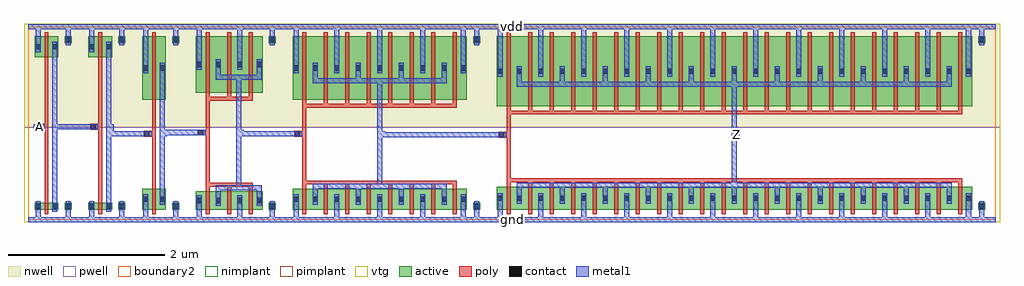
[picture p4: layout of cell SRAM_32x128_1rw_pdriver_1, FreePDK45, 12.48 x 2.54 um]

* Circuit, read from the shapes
.subckt SRAM_32x128_1rw_pdriver_1 A Z gnd vdd
M1 SRAM_32x128_1rw_pinv_1_1/A A gnd gnd nfet w=0.09u l=0.05u
M2 SRAM_32x128_1rw_pinv_8_2/A SRAM_32x128_1rw_pinv_1_1/A gnd gnd nfet w=0.09u l=0.05u
M3 SRAM_32x128_1rw_pinv_9_3/A SRAM_32x128_1rw_pinv_8_2/A gnd gnd nfet w=0.27u l=0.05u
M4 SRAM_32x128_1rw_pinv_10_4/A SRAM_32x128_1rw_pinv_9_3/A gnd gnd nfet w=0.24u l=0.05u m=3
M5 SRAM_32x128_1rw_pinv_11_5/A SRAM_32x128_1rw_pinv_10_4/A gnd gnd nfet w=0.27u l=0.05u m=8
M6 Z SRAM_32x128_1rw_pinv_11_5/A gnd gnd nfet w=0.2975u l=0.05u m=22
M7 SRAM_32x128_1rw_pinv_1_1/A A vdd vdd pfet w=0.27u l=0.05u
M8 SRAM_32x128_1rw_pinv_8_2/A SRAM_32x128_1rw_pinv_1_1/A vdd vdd pfet w=0.27u l=0.05u
M9 SRAM_32x128_1rw_pinv_9_3/A SRAM_32x128_1rw_pinv_8_2/A vdd vdd pfet w=0.81u l=0.05u
M10 SRAM_32x128_1rw_pinv_10_4/A SRAM_32x128_1rw_pinv_9_3/A vdd vdd pfet w=0.72u l=0.05u m=3
M11 SRAM_32x128_1rw_pinv_11_5/A SRAM_32x128_1rw_pinv_10_4/A vdd vdd pfet w=0.81u l=0.05u m=8
M12 Z SRAM_32x128_1rw_pinv_11_5/A vdd vdd pfet w=0.895u l=0.05u m=22
.ends

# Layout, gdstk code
import gdstk
lib = gdstk.Library(unit=1e-6, precision=5e-10)
def R(c, l, rs):  # rectangles x0, y0, x1, y1
    for r in rs: c.add(gdstk.rectangle(r[:2], r[2:], *l))
def A(c, l, x, y, w, h, nx, ny, dx, dy):  # array of equal rectangles
    R(c, l, [(x+i*dx, y+j*dy, x+i*dx+w, y+j*dy+h) for i in range(nx) for j in range(ny)])
active = (1, 0)
pwell = (2, 0)
nwell = (3, 0)
nimplant = (4, 0)
pimplant = (5, 0)
vtg = (6, 0)
poly = (9, 0)
contact = (10, 0)
metal1 = (11, 0)
boundary2 = (239, 0)

sram_32x128_1rw_contact_ = lib.new_cell('SRAM_32x128_1rw_contact_11')
R(sram_32x128_1rw_contact_, active, [(0,0.0225,0.09,0.1125)])
R(sram_32x128_1rw_contact_, nwell, [(-0.055,-0.0325,0.145,0.1675)])
R(sram_32x128_1rw_contact_, pimplant, [(0,0.0225,0.09,0.1125)])
R(sram_32x128_1rw_contact_, contact, [(0.0125,0.035,0.0775,0.1)])
R(sram_32x128_1rw_contact_, metal1, [(0.0125,0,0.0775,0.135)])
R(sram_32x128_1rw_contact_, boundary2, [(-0.055,-0.0325,0.145,0.1675)])

sram_32x128_1rw_pmos_m1_ = lib.new_cell('SRAM_32x128_1rw_pmos_m1_w0_270_sm1_dm1_da_p')
R(sram_32x128_1rw_pmos_m1_, active, [(0,0,0.305,0.27)])
R(sram_32x128_1rw_pmos_m1_, nwell, [(-0.08,-0.08,0.385,0.35)])
R(sram_32x128_1rw_pmos_m1_, pimplant, [(0,0,0.305,0.27)])
R(sram_32x128_1rw_pmos_m1_, vtg, [(-0.08,-0.08,0.385,0.35)])
R(sram_32x128_1rw_pmos_m1_, poly, [(0.1275,-0.055,0.1775,0.325), (0.1275,-0.055,0.1775,0.325)])
R(sram_32x128_1rw_pmos_m1_, metal1, [(0.0125,0.0675,0.0775,0.2025), (0.2275,0.0675,0.2925,0.2025)])
R(sram_32x128_1rw_pmos_m1_, boundary2, [(-0.08,-0.08,0.385,0.35)])
sram_32x128_1rw_pmos_m1_.add(gdstk.Reference(sram_32x128_1rw_contact_, (0,0.0675)))
sram_32x128_1rw_pmos_m1_.add(gdstk.Reference(sram_32x128_1rw_contact_, (0.215,0.0675)))
sram_32x128_1rw_pmos_m1_.add(gdstk.Label('G', (0.1525,0.135), layer=9, texttype=0))
sram_32x128_1rw_pmos_m1_.add(gdstk.Label('S', (0.045,0.135), layer=11, texttype=0))
sram_32x128_1rw_pmos_m1_.add(gdstk.Label('D', (0.26,0.135), layer=11, texttype=0))

c_sram_32x128_1rw_contact_ = lib.new_cell('SRAM_32x128_1rw_contact_10')
R(c_sram_32x128_1rw_contact_, active, [(0,0.0225,0.09,0.1125)])
R(c_sram_32x128_1rw_contact_, pwell, [(-0.055,-0.0325,0.145,0.1675)])
R(c_sram_32x128_1rw_contact_, nimplant, [(0,0.0225,0.09,0.1125)])
R(c_sram_32x128_1rw_contact_, contact, [(0.0125,0.035,0.0775,0.1)])
R(c_sram_32x128_1rw_contact_, metal1, [(0.0125,0,0.0775,0.135)])
R(c_sram_32x128_1rw_contact_, boundary2, [(-0.055,-0.0325,0.145,0.1675)])

sram_32x128_1rw_nmos_m1_ = lib.new_cell('SRAM_32x128_1rw_nmos_m1_w0_090_sm1_dm1_da_p')
R(sram_32x128_1rw_nmos_m1_, active, [(0,0,0.305,0.09)])
R(sram_32x128_1rw_nmos_m1_, pwell, [(-0.08,-0.08,0.385,0.17)])
R(sram_32x128_1rw_nmos_m1_, nimplant, [(0,0,0.305,0.09)])
R(sram_32x128_1rw_nmos_m1_, vtg, [(-0.08,-0.08,0.385,0.17)])
R(sram_32x128_1rw_nmos_m1_, poly, [(0.1275,-0.055,0.1775,0.145), (0.1275,-0.055,0.1775,0.145)])
R(sram_32x128_1rw_nmos_m1_, metal1, [(0.0125,-0.0225,0.0775,0.1125), (0.2275,-0.0225,0.2925,0.1125)])
R(sram_32x128_1rw_nmos_m1_, boundary2, [(-0.08,-0.08,0.385,0.17)])
sram_32x128_1rw_nmos_m1_.add(gdstk.Reference(c_sram_32x128_1rw_contact_, (0,-0.0225)))
sram_32x128_1rw_nmos_m1_.add(gdstk.Reference(c_sram_32x128_1rw_contact_, (0.215,-0.0225)))
sram_32x128_1rw_nmos_m1_.add(gdstk.Label('G', (0.1525,0.045), layer=9, texttype=0))
sram_32x128_1rw_nmos_m1_.add(gdstk.Label('S', (0.045,0.045), layer=11, texttype=0))
sram_32x128_1rw_nmos_m1_.add(gdstk.Label('D', (0.26,0.045), layer=11, texttype=0))

c_sram_32x128_1rw_contact__ = lib.new_cell('SRAM_32x128_1rw_contact_12')
R(c_sram_32x128_1rw_contact__, active, [(0,0.0225,0.09,0.1125)])
R(c_sram_32x128_1rw_contact__, nwell, [(-0.055,-0.0325,0.145,0.1675)])
R(c_sram_32x128_1rw_contact__, nimplant, [(0,0.0225,0.09,0.1125)])
R(c_sram_32x128_1rw_contact__, contact, [(0.0125,0.035,0.0775,0.1)])
R(c_sram_32x128_1rw_contact__, metal1, [(0.0125,0,0.0775,0.135)])
R(c_sram_32x128_1rw_contact__, boundary2, [(-0.055,-0.0325,0.145,0.1675)])

c_sram_32x128_1rw_contact___ = lib.new_cell('SRAM_32x128_1rw_contact_13')
R(c_sram_32x128_1rw_contact___, active, [(0,0.0225,0.09,0.1125)])
R(c_sram_32x128_1rw_contact___, pwell, [(-0.055,-0.0325,0.145,0.1675)])
R(c_sram_32x128_1rw_contact___, pimplant, [(0,0.0225,0.09,0.1125)])
R(c_sram_32x128_1rw_contact___, contact, [(0.0125,0.035,0.0775,0.1)])
R(c_sram_32x128_1rw_contact___, metal1, [(0.0125,0,0.0775,0.135)])
R(c_sram_32x128_1rw_contact___, boundary2, [(-0.055,-0.0325,0.145,0.1675)])

c_sram_32x128_1rw_contact____ = lib.new_cell('SRAM_32x128_1rw_contact_14')
R(c_sram_32x128_1rw_contact____, poly, [(0.03,0,0.105,0.075)])
R(c_sram_32x128_1rw_contact____, contact, [(0.035,0.005,0.1,0.07)])
R(c_sram_32x128_1rw_contact____, metal1, [(0,0.005,0.135,0.07)])
R(c_sram_32x128_1rw_contact____, boundary2, [(0,0,0.135,0.075)])

sram_32x128_1rw_pinv_1 = lib.new_cell('SRAM_32x128_1rw_pinv_1')
R(sram_32x128_1rw_pinv_1, pwell, [(-0.055,-0.0325,0.7425,1.185)])
R(sram_32x128_1rw_pinv_1, nwell, [(-0.055,1.185,0.7425,2.505)])
R(sram_32x128_1rw_pinv_1, vtg, [(-0.055,-0.0325,0.7425,1.185), (-0.055,1.185,0.7425,2.505)])
R(sram_32x128_1rw_pinv_1, poly, [(0.2075,0.27,0.2575,2.02), (0.14,1.1525,0.2075,1.2275)])
R(sram_32x128_1rw_pinv_1, metal1, [(0,-0.0325,0.6875,0.0325), (0.0925,-0.0325,0.1575,0.1025), (0.4775,0,0.5425,0.17), (0.3075,0.1025,0.3725,2.2775), (0.0725,1.1575,0.2075,1.2225), (0.34,1.1575,0.405,1.2225), (0.0925,2.1425,0.1575,2.5025), (0.4775,2.3,0.5425,2.47), (0,2.4375,0.6875,2.5025)])
R(sram_32x128_1rw_pinv_1, boundary2, [(0,0,0.6875,2.47), (0,0,0.6875,2.47)])
sram_32x128_1rw_pinv_1.add(gdstk.Reference(sram_32x128_1rw_pmos_m1_, (0.08,2.075)))
sram_32x128_1rw_pinv_1.add(gdstk.Reference(sram_32x128_1rw_nmos_m1_, (0.08,0.125)))
sram_32x128_1rw_pinv_1.add(gdstk.Reference(c_sram_32x128_1rw_contact__, (0.465,2.2325)))
sram_32x128_1rw_pinv_1.add(gdstk.Reference(c_sram_32x128_1rw_contact___, (0.465,0.1025)))
sram_32x128_1rw_pinv_1.add(gdstk.Reference(c_sram_32x128_1rw_contact____, (0.0725,1.1525)))
sram_32x128_1rw_pinv_1.add(gdstk.Label('A', (0.14,1.19), layer=11, texttype=0))
sram_32x128_1rw_pinv_1.add(gdstk.Label('Z', (0.3725,1.19), layer=11, texttype=0))
sram_32x128_1rw_pinv_1.add(gdstk.Label('gnd', (0.344,0), layer=11, texttype=0))
sram_32x128_1rw_pinv_1.add(gdstk.Label('vdd', (0.344,2.47), layer=11, texttype=0))

c_sram_32x128_1rw_pmos_m1_ = lib.new_cell('SRAM_32x128_1rw_pmos_m1_w0_810_sm1_dm1_da_p')
R(c_sram_32x128_1rw_pmos_m1_, active, [(0,0,0.305,0.81)])
R(c_sram_32x128_1rw_pmos_m1_, nwell, [(-0.08,-0.08,0.385,0.89)])
R(c_sram_32x128_1rw_pmos_m1_, pimplant, [(0,0,0.305,0.81)])
R(c_sram_32x128_1rw_pmos_m1_, vtg, [(-0.08,-0.08,0.385,0.89)])
R(c_sram_32x128_1rw_pmos_m1_, poly, [(0.1275,-0.055,0.1775,0.865), (0.1275,-0.055,0.1775,0.865)])
R(c_sram_32x128_1rw_pmos_m1_, metal1, [(0.0125,0.3375,0.0775,0.4725), (0.2275,0.3375,0.2925,0.4725)])
R(c_sram_32x128_1rw_pmos_m1_, boundary2, [(-0.08,-0.08,0.385,0.89)])
c_sram_32x128_1rw_pmos_m1_.add(gdstk.Reference(sram_32x128_1rw_contact_, (0,0.3375)))
c_sram_32x128_1rw_pmos_m1_.add(gdstk.Reference(sram_32x128_1rw_contact_, (0.215,0.3375)))
c_sram_32x128_1rw_pmos_m1_.add(gdstk.Label('G', (0.1525,0.405), layer=9, texttype=0))
c_sram_32x128_1rw_pmos_m1_.add(gdstk.Label('S', (0.045,0.405), layer=11, texttype=0))
c_sram_32x128_1rw_pmos_m1_.add(gdstk.Label('D', (0.26,0.405), layer=11, texttype=0))

c_sram_32x128_1rw_nmos_m1_ = lib.new_cell('SRAM_32x128_1rw_nmos_m1_w0_270_sm1_dm1_da_p')
R(c_sram_32x128_1rw_nmos_m1_, active, [(0,0,0.305,0.27)])
R(c_sram_32x128_1rw_nmos_m1_, pwell, [(-0.08,-0.08,0.385,0.35)])
R(c_sram_32x128_1rw_nmos_m1_, nimplant, [(0,0,0.305,0.27)])
R(c_sram_32x128_1rw_nmos_m1_, vtg, [(-0.08,-0.08,0.385,0.35)])
R(c_sram_32x128_1rw_nmos_m1_, poly, [(0.1275,-0.055,0.1775,0.325), (0.1275,-0.055,0.1775,0.325)])
R(c_sram_32x128_1rw_nmos_m1_, metal1, [(0.0125,0.0675,0.0775,0.2025), (0.2275,0.0675,0.2925,0.2025)])
R(c_sram_32x128_1rw_nmos_m1_, boundary2, [(-0.08,-0.08,0.385,0.35)])
c_sram_32x128_1rw_nmos_m1_.add(gdstk.Reference(c_sram_32x128_1rw_contact_, (0,0.0675)))
c_sram_32x128_1rw_nmos_m1_.add(gdstk.Reference(c_sram_32x128_1rw_contact_, (0.215,0.0675)))
c_sram_32x128_1rw_nmos_m1_.add(gdstk.Label('G', (0.1525,0.135), layer=9, texttype=0))
c_sram_32x128_1rw_nmos_m1_.add(gdstk.Label('S', (0.045,0.135), layer=11, texttype=0))
c_sram_32x128_1rw_nmos_m1_.add(gdstk.Label('D', (0.26,0.135), layer=11, texttype=0))

sram_32x128_1rw_pinv_8 = lib.new_cell('SRAM_32x128_1rw_pinv_8')
R(sram_32x128_1rw_pinv_8, pwell, [(-0.055,-0.0325,0.7425,1.185)])
R(sram_32x128_1rw_pinv_8, nwell, [(-0.055,1.185,0.7425,2.505)])
R(sram_32x128_1rw_pinv_8, vtg, [(-0.055,-0.0325,0.7425,1.185), (-0.055,1.185,0.7425,2.505)])
R(sram_32x128_1rw_pinv_8, poly, [(0.2075,0.45,0.2575,1.48), (0.14,1.0625,0.2075,1.1375)])
R(sram_32x128_1rw_pinv_8, metal1, [(0,-0.0325,0.6875,0.0325), (0.0925,-0.0325,0.1575,0.1925), (0.4775,0,0.5425,0.17), (0.3075,0.1925,0.3725,2.0075), (0.0725,1.0675,0.2075,1.1325), (0.34,1.0675,0.405,1.1325), (0.0925,1.8725,0.1575,2.5025), (0.4775,2.3,0.5425,2.47), (0,2.4375,0.6875,2.5025)])
R(sram_32x128_1rw_pinv_8, boundary2, [(0,0,0.6875,2.47), (0,0,0.6875,2.47)])
sram_32x128_1rw_pinv_8.add(gdstk.Reference(c_sram_32x128_1rw_pmos_m1_, (0.08,1.535)))
sram_32x128_1rw_pinv_8.add(gdstk.Reference(c_sram_32x128_1rw_nmos_m1_, (0.08,0.125)))
sram_32x128_1rw_pinv_8.add(gdstk.Reference(c_sram_32x128_1rw_contact__, (0.465,2.2325)))
sram_32x128_1rw_pinv_8.add(gdstk.Reference(c_sram_32x128_1rw_contact___, (0.465,0.1025)))
sram_32x128_1rw_pinv_8.add(gdstk.Reference(c_sram_32x128_1rw_contact____, (0.0725,1.0625)))
sram_32x128_1rw_pinv_8.add(gdstk.Label('A', (0.14,1.1), layer=11, texttype=0))
sram_32x128_1rw_pinv_8.add(gdstk.Label('Z', (0.3725,1.1), layer=11, texttype=0))
sram_32x128_1rw_pinv_8.add(gdstk.Label('gnd', (0.344,0), layer=11, texttype=0))
sram_32x128_1rw_pinv_8.add(gdstk.Label('vdd', (0.344,2.47), layer=11, texttype=0))

sram_32x128_1rw_pmos_m3_ = lib.new_cell('SRAM_32x128_1rw_pmos_m3_w0_720_sm1_dm1_da_p')
R(sram_32x128_1rw_pmos_m3_, active, [(0,0,0.855,0.72)])
R(sram_32x128_1rw_pmos_m3_, nwell, [(-0.08,-0.08,0.935,0.8)])
R(sram_32x128_1rw_pmos_m3_, pimplant, [(0,0,0.855,0.72)])
R(sram_32x128_1rw_pmos_m3_, vtg, [(-0.08,-0.08,0.935,0.8)])
A(sram_32x128_1rw_pmos_m3_, poly, 0.1275, -0.055, 0.05, 0.83, 3, 1, 0.275, 0)
R(sram_32x128_1rw_pmos_m3_, poly, [(0.1275,-0.105,0.7275,-0.055)])
R(sram_32x128_1rw_pmos_m3_, metal1, [(0.2575,0.1625,0.8425,0.2275), (0.2575,0.195,0.3225,0.36), (0.7775,0.195,0.8425,0.36), (0.0125,0.2925,0.0775,0.4275), (0.5325,0.2925,0.5975,0.4275)])
R(sram_32x128_1rw_pmos_m3_, boundary2, [(-0.08,-0.105,0.935,0.8)])
sram_32x128_1rw_pmos_m3_.add(gdstk.Reference(sram_32x128_1rw_contact_, (0,0.2925)))
sram_32x128_1rw_pmos_m3_.add(gdstk.Reference(sram_32x128_1rw_contact_, (0.245,0.2925)))
sram_32x128_1rw_pmos_m3_.add(gdstk.Reference(sram_32x128_1rw_contact_, (0.52,0.2925)))
sram_32x128_1rw_pmos_m3_.add(gdstk.Reference(sram_32x128_1rw_contact_, (0.765,0.2925)))
sram_32x128_1rw_pmos_m3_.add(gdstk.Label('G', (0.4275,-0.08), layer=9, texttype=0))
sram_32x128_1rw_pmos_m3_.add(gdstk.Label('S', (0.565,0.36), layer=11, texttype=0))
sram_32x128_1rw_pmos_m3_.add(gdstk.Label('S', (0.045,0.36), layer=11, texttype=0))
sram_32x128_1rw_pmos_m3_.add(gdstk.Label('D', (0.55,0.195), layer=11, texttype=0))

sram_32x128_1rw_nmos_m3_ = lib.new_cell('SRAM_32x128_1rw_nmos_m3_w0_240_sm1_dm1_da_p')
R(sram_32x128_1rw_nmos_m3_, active, [(0,0,0.855,0.24)])
R(sram_32x128_1rw_nmos_m3_, pwell, [(-0.08,-0.08,0.935,0.32)])
R(sram_32x128_1rw_nmos_m3_, nimplant, [(0,0,0.855,0.24)])
R(sram_32x128_1rw_nmos_m3_, vtg, [(-0.08,-0.08,0.935,0.32)])
A(sram_32x128_1rw_nmos_m3_, poly, 0.1275, -0.055, 0.05, 0.35, 3, 1, 0.275, 0)
R(sram_32x128_1rw_nmos_m3_, poly, [(0.1275,0.295,0.7275,0.345)])
R(sram_32x128_1rw_nmos_m3_, metal1, [(0.0125,0.0525,0.0775,0.1875), (0.5325,0.0525,0.5975,0.1875), (0.2575,0.12,0.3225,0.285), (0.7775,0.12,0.8425,0.285), (0.2575,0.2525,0.8425,0.3175)])
R(sram_32x128_1rw_nmos_m3_, boundary2, [(-0.08,-0.08,0.935,0.345)])
sram_32x128_1rw_nmos_m3_.add(gdstk.Reference(c_sram_32x128_1rw_contact_, (0,0.0525)))
sram_32x128_1rw_nmos_m3_.add(gdstk.Reference(c_sram_32x128_1rw_contact_, (0.245,0.0525)))
sram_32x128_1rw_nmos_m3_.add(gdstk.Reference(c_sram_32x128_1rw_contact_, (0.52,0.0525)))
sram_32x128_1rw_nmos_m3_.add(gdstk.Reference(c_sram_32x128_1rw_contact_, (0.765,0.0525)))
sram_32x128_1rw_nmos_m3_.add(gdstk.Label('G', (0.4275,0.32), layer=9, texttype=0))
sram_32x128_1rw_nmos_m3_.add(gdstk.Label('S', (0.565,0.12), layer=11, texttype=0))
sram_32x128_1rw_nmos_m3_.add(gdstk.Label('S', (0.045,0.12), layer=11, texttype=0))
sram_32x128_1rw_nmos_m3_.add(gdstk.Label('D', (0.55,0.285), layer=11, texttype=0))

sram_32x128_1rw_pinv_9 = lib.new_cell('SRAM_32x128_1rw_pinv_9')
R(sram_32x128_1rw_pinv_9, pwell, [(-0.055,-0.0325,1.2925,1.185)])
R(sram_32x128_1rw_pinv_9, nwell, [(-0.055,1.185,1.2925,2.505)])
R(sram_32x128_1rw_pinv_9, vtg, [(-0.055,-0.0325,1.2925,1.185), (-0.055,1.185,1.2925,2.505)])
R(sram_32x128_1rw_pinv_9, poly, [(0.2075,0.47,0.2575,1.52), (0.14,1.0775,0.2075,1.1525)])
R(sram_32x128_1rw_pinv_9, metal1, [(0,-0.0325,1.2375,0.0325), (0.0925,-0.0325,0.1575,0.1775), (0.6125,-0.0325,0.6775,0.1775), (1.0275,0,1.0925,0.17), (0.5975,0.3775,0.6625,1.8525), (0.0725,1.0825,0.2075,1.1475), (0.63,1.0825,0.695,1.1475), (0.0925,1.9175,0.1575,2.5025), (0.6125,1.9175,0.6775,2.5025), (1.0275,2.3,1.0925,2.47), (0,2.4375,1.2375,2.5025)])
R(sram_32x128_1rw_pinv_9, boundary2, [(0,0,1.2375,2.47), (0,0,1.2375,2.47)])
sram_32x128_1rw_pinv_9.add(gdstk.Reference(sram_32x128_1rw_pmos_m3_, (0.08,1.625)))
sram_32x128_1rw_pinv_9.add(gdstk.Reference(sram_32x128_1rw_nmos_m3_, (0.08,0.125)))
sram_32x128_1rw_pinv_9.add(gdstk.Reference(c_sram_32x128_1rw_contact__, (1.015,2.2325)))
sram_32x128_1rw_pinv_9.add(gdstk.Reference(c_sram_32x128_1rw_contact___, (1.015,0.1025)))
sram_32x128_1rw_pinv_9.add(gdstk.Reference(c_sram_32x128_1rw_contact____, (0.0725,1.0775)))
sram_32x128_1rw_pinv_9.add(gdstk.Label('A', (0.14,1.115), layer=11, texttype=0))
sram_32x128_1rw_pinv_9.add(gdstk.Label('Z', (0.6625,1.115), layer=11, texttype=0))
sram_32x128_1rw_pinv_9.add(gdstk.Label('gnd', (0.619,0), layer=11, texttype=0))
sram_32x128_1rw_pinv_9.add(gdstk.Label('vdd', (0.619,2.47), layer=11, texttype=0))

sram_32x128_1rw_pmos_m8_ = lib.new_cell('SRAM_32x128_1rw_pmos_m8_w0_810_sm1_dm1_da_p')
R(sram_32x128_1rw_pmos_m8_, active, [(0,0,2.23,0.81)])
R(sram_32x128_1rw_pmos_m8_, nwell, [(-0.08,-0.08,2.31,0.89)])
R(sram_32x128_1rw_pmos_m8_, pimplant, [(0,0,2.23,0.81)])
R(sram_32x128_1rw_pmos_m8_, vtg, [(-0.08,-0.08,2.31,0.89)])
A(sram_32x128_1rw_pmos_m8_, poly, 0.1275, -0.055, 0.05, 0.92, 8, 1, 0.275, 0)
R(sram_32x128_1rw_pmos_m8_, poly, [(0.1275,-0.105,2.1025,-0.055)])
A(sram_32x128_1rw_pmos_m8_, metal1, 0.2575, 0.24, 0.065, 0.165, 4, 1, 0.55, 0)
A(sram_32x128_1rw_pmos_m8_, metal1, 0.5325, 0.3375, 0.065, 0.135, 3, 1, 0.55, 0)
R(sram_32x128_1rw_pmos_m8_, metal1, [(0.2575,0.2075,1.9725,0.2725), (0.0125,0.3375,0.0775,0.4725), (2.1525,0.3375,2.2175,0.4725)])
R(sram_32x128_1rw_pmos_m8_, boundary2, [(-0.08,-0.105,2.31,0.89)])
sram_32x128_1rw_pmos_m8_.add(gdstk.Reference(sram_32x128_1rw_contact_, (0,0.3375)))
sram_32x128_1rw_pmos_m8_.add(gdstk.Reference(sram_32x128_1rw_contact_, (0.245,0.3375)))
sram_32x128_1rw_pmos_m8_.add(gdstk.Reference(sram_32x128_1rw_contact_, (0.52,0.3375)))
sram_32x128_1rw_pmos_m8_.add(gdstk.Reference(sram_32x128_1rw_contact_, (0.795,0.3375)))
sram_32x128_1rw_pmos_m8_.add(gdstk.Reference(sram_32x128_1rw_contact_, (1.07,0.3375)))
sram_32x128_1rw_pmos_m8_.add(gdstk.Reference(sram_32x128_1rw_contact_, (1.345,0.3375)))
sram_32x128_1rw_pmos_m8_.add(gdstk.Reference(sram_32x128_1rw_contact_, (1.62,0.3375)))
sram_32x128_1rw_pmos_m8_.add(gdstk.Reference(sram_32x128_1rw_contact_, (1.895,0.3375)))
sram_32x128_1rw_pmos_m8_.add(gdstk.Reference(sram_32x128_1rw_contact_, (2.14,0.3375)))
sram_32x128_1rw_pmos_m8_.add(gdstk.Label('G', (1.115,-0.08), layer=9, texttype=0))
sram_32x128_1rw_pmos_m8_.add(gdstk.Label('S', (1.665,0.405), layer=11, texttype=0))
sram_32x128_1rw_pmos_m8_.add(gdstk.Label('S', (0.045,0.405), layer=11, texttype=0))
sram_32x128_1rw_pmos_m8_.add(gdstk.Label('S', (2.185,0.405), layer=11, texttype=0))
sram_32x128_1rw_pmos_m8_.add(gdstk.Label('S', (0.565,0.405), layer=11, texttype=0))
sram_32x128_1rw_pmos_m8_.add(gdstk.Label('S', (1.115,0.405), layer=11, texttype=0))
sram_32x128_1rw_pmos_m8_.add(gdstk.Label('D', (1.115,0.24), layer=11, texttype=0))

sram_32x128_1rw_nmos_m8_ = lib.new_cell('SRAM_32x128_1rw_nmos_m8_w0_270_sm1_dm1_da_p')
R(sram_32x128_1rw_nmos_m8_, active, [(0,0,2.23,0.27)])
R(sram_32x128_1rw_nmos_m8_, pwell, [(-0.08,-0.08,2.31,0.35)])
R(sram_32x128_1rw_nmos_m8_, nimplant, [(0,0,2.23,0.27)])
R(sram_32x128_1rw_nmos_m8_, vtg, [(-0.08,-0.08,2.31,0.35)])
A(sram_32x128_1rw_nmos_m8_, poly, 0.1275, -0.055, 0.05, 0.38, 8, 1, 0.275, 0)
R(sram_32x128_1rw_nmos_m8_, poly, [(0.1275,0.325,2.1025,0.375)])
A(sram_32x128_1rw_nmos_m8_, metal1, 0.5325, 0.0675, 0.065, 0.135, 3, 1, 0.55, 0)
A(sram_32x128_1rw_nmos_m8_, metal1, 0.2575, 0.135, 0.065, 0.165, 4, 1, 0.55, 0)
R(sram_32x128_1rw_nmos_m8_, metal1, [(0.0125,0.0675,0.0775,0.2025), (2.1525,0.0675,2.2175,0.2025), (0.2575,0.2675,1.9725,0.3325)])
R(sram_32x128_1rw_nmos_m8_, boundary2, [(-0.08,-0.08,2.31,0.375)])
sram_32x128_1rw_nmos_m8_.add(gdstk.Reference(c_sram_32x128_1rw_contact_, (0,0.0675)))
sram_32x128_1rw_nmos_m8_.add(gdstk.Reference(c_sram_32x128_1rw_contact_, (0.245,0.0675)))
sram_32x128_1rw_nmos_m8_.add(gdstk.Reference(c_sram_32x128_1rw_contact_, (0.52,0.0675)))
sram_32x128_1rw_nmos_m8_.add(gdstk.Reference(c_sram_32x128_1rw_contact_, (0.795,0.0675)))
sram_32x128_1rw_nmos_m8_.add(gdstk.Reference(c_sram_32x128_1rw_contact_, (1.07,0.0675)))
sram_32x128_1rw_nmos_m8_.add(gdstk.Reference(c_sram_32x128_1rw_contact_, (1.345,0.0675)))
sram_32x128_1rw_nmos_m8_.add(gdstk.Reference(c_sram_32x128_1rw_contact_, (1.62,0.0675)))
sram_32x128_1rw_nmos_m8_.add(gdstk.Reference(c_sram_32x128_1rw_contact_, (1.895,0.0675)))
sram_32x128_1rw_nmos_m8_.add(gdstk.Reference(c_sram_32x128_1rw_contact_, (2.14,0.0675)))
sram_32x128_1rw_nmos_m8_.add(gdstk.Label('G', (1.115,0.35), layer=9, texttype=0))
sram_32x128_1rw_nmos_m8_.add(gdstk.Label('S', (0.045,0.135), layer=11, texttype=0))
sram_32x128_1rw_nmos_m8_.add(gdstk.Label('S', (1.665,0.135), layer=11, texttype=0))
sram_32x128_1rw_nmos_m8_.add(gdstk.Label('S', (1.115,0.135), layer=11, texttype=0))
sram_32x128_1rw_nmos_m8_.add(gdstk.Label('S', (2.185,0.135), layer=11, texttype=0))
sram_32x128_1rw_nmos_m8_.add(gdstk.Label('S', (0.565,0.135), layer=11, texttype=0))
sram_32x128_1rw_nmos_m8_.add(gdstk.Label('D', (1.115,0.3), layer=11, texttype=0))

sram_32x128_1rw_pinv_10 = lib.new_cell('SRAM_32x128_1rw_pinv_10')
R(sram_32x128_1rw_pinv_10, pwell, [(-0.055,-0.0325,2.6675,1.185)])
R(sram_32x128_1rw_pinv_10, nwell, [(-0.055,1.185,2.6675,2.505)])
R(sram_32x128_1rw_pinv_10, vtg, [(-0.055,-0.0325,2.6675,1.185), (-0.055,1.185,2.6675,2.505)])
R(sram_32x128_1rw_pinv_10, poly, [(0.2075,0.5,0.2575,1.43), (0.14,1.0625,0.2075,1.1375)])
A(sram_32x128_1rw_pinv_10, metal1, 0.6125, -0.0325, 0.065, 0.225, 3, 1, 0.55, 0)
A(sram_32x128_1rw_pinv_10, metal1, 0.6125, 1.8725, 0.065, 0.63, 3, 1, 0.55, 0)
R(sram_32x128_1rw_pinv_10, metal1, [(0,-0.0325,2.6125,0.0325), (0.0925,-0.0325,0.1575,0.1925), (2.2325,-0.0325,2.2975,0.1925), (2.4025,0,2.4675,0.17), (1.1625,0.3925,1.2275,1.8075), (0.0725,1.0675,0.2075,1.1325), (1.195,1.0675,1.26,1.1325), (0.0925,1.8725,0.1575,2.5025), (2.2325,1.8725,2.2975,2.5025), (2.4025,2.3,2.4675,2.47), (0,2.4375,2.6125,2.5025)])
R(sram_32x128_1rw_pinv_10, boundary2, [(0,0,2.6125,2.47), (0,0,2.6125,2.47)])
sram_32x128_1rw_pinv_10.add(gdstk.Reference(sram_32x128_1rw_pmos_m8_, (0.08,1.535)))
sram_32x128_1rw_pinv_10.add(gdstk.Reference(sram_32x128_1rw_nmos_m8_, (0.08,0.125)))
sram_32x128_1rw_pinv_10.add(gdstk.Reference(c_sram_32x128_1rw_contact__, (2.39,2.2325)))
sram_32x128_1rw_pinv_10.add(gdstk.Reference(c_sram_32x128_1rw_contact___, (2.39,0.1025)))
sram_32x128_1rw_pinv_10.add(gdstk.Reference(c_sram_32x128_1rw_contact____, (0.0725,1.0625)))
sram_32x128_1rw_pinv_10.add(gdstk.Label('A', (0.14,1.1), layer=11, texttype=0))
sram_32x128_1rw_pinv_10.add(gdstk.Label('Z', (1.2275,1.1), layer=11, texttype=0))
sram_32x128_1rw_pinv_10.add(gdstk.Label('gnd', (1.3065,0), layer=11, texttype=0))
sram_32x128_1rw_pinv_10.add(gdstk.Label('vdd', (1.3065,2.47), layer=11, texttype=0))

sram_32x128_1rw_pmos_m22 = lib.new_cell('SRAM_32x128_1rw_pmos_m22_w0_895_sm1_dm1_da_p')
R(sram_32x128_1rw_pmos_m22, active, [(0,0,6.08,0.895)])
R(sram_32x128_1rw_pmos_m22, nwell, [(-0.08,-0.08,6.16,0.975)])
R(sram_32x128_1rw_pmos_m22, pimplant, [(0,0,6.08,0.895)])
R(sram_32x128_1rw_pmos_m22, vtg, [(-0.08,-0.08,6.16,0.975)])
A(sram_32x128_1rw_pmos_m22, poly, 0.1275, -0.055, 0.05, 1.005, 22, 1, 0.275, 0)
R(sram_32x128_1rw_pmos_m22, poly, [(0.1275,-0.105,5.9525,-0.055)])
A(sram_32x128_1rw_pmos_m22, metal1, 0.2575, 0.2825, 0.065, 0.165, 11, 1, 0.55, 0)
A(sram_32x128_1rw_pmos_m22, metal1, 0.5325, 0.38, 0.065, 0.135, 10, 1, 0.55, 0)
R(sram_32x128_1rw_pmos_m22, metal1, [(0.2575,0.25,5.8225,0.315), (0.0125,0.38,0.0775,0.515), (6.0025,0.38,6.0675,0.515)])
R(sram_32x128_1rw_pmos_m22, boundary2, [(-0.08,-0.105,6.16,0.975)])
sram_32x128_1rw_pmos_m22.add(gdstk.Reference(sram_32x128_1rw_contact_, (0,0.38)))
sram_32x128_1rw_pmos_m22.add(gdstk.Reference(sram_32x128_1rw_contact_, (0.245,0.38)))
sram_32x128_1rw_pmos_m22.add(gdstk.Reference(sram_32x128_1rw_contact_, (0.52,0.38)))
sram_32x128_1rw_pmos_m22.add(gdstk.Reference(sram_32x128_1rw_contact_, (0.795,0.38)))
sram_32x128_1rw_pmos_m22.add(gdstk.Reference(sram_32x128_1rw_contact_, (1.07,0.38)))
sram_32x128_1rw_pmos_m22.add(gdstk.Reference(sram_32x128_1rw_contact_, (1.345,0.38)))
sram_32x128_1rw_pmos_m22.add(gdstk.Reference(sram_32x128_1rw_contact_, (1.62,0.38)))
sram_32x128_1rw_pmos_m22.add(gdstk.Reference(sram_32x128_1rw_contact_, (1.895,0.38)))
sram_32x128_1rw_pmos_m22.add(gdstk.Reference(sram_32x128_1rw_contact_, (2.17,0.38)))
sram_32x128_1rw_pmos_m22.add(gdstk.Reference(sram_32x128_1rw_contact_, (2.445,0.38)))
sram_32x128_1rw_pmos_m22.add(gdstk.Reference(sram_32x128_1rw_contact_, (2.72,0.38)))
sram_32x128_1rw_pmos_m22.add(gdstk.Reference(sram_32x128_1rw_contact_, (2.995,0.38)))
sram_32x128_1rw_pmos_m22.add(gdstk.Reference(sram_32x128_1rw_contact_, (3.27,0.38)))
sram_32x128_1rw_pmos_m22.add(gdstk.Reference(sram_32x128_1rw_contact_, (3.545,0.38)))
sram_32x128_1rw_pmos_m22.add(gdstk.Reference(sram_32x128_1rw_contact_, (3.82,0.38)))
sram_32x128_1rw_pmos_m22.add(gdstk.Reference(sram_32x128_1rw_contact_, (4.095,0.38)))
sram_32x128_1rw_pmos_m22.add(gdstk.Reference(sram_32x128_1rw_contact_, (4.37,0.38)))
sram_32x128_1rw_pmos_m22.add(gdstk.Reference(sram_32x128_1rw_contact_, (4.645,0.38)))
sram_32x128_1rw_pmos_m22.add(gdstk.Reference(sram_32x128_1rw_contact_, (4.92,0.38)))
sram_32x128_1rw_pmos_m22.add(gdstk.Reference(sram_32x128_1rw_contact_, (5.195,0.38)))
sram_32x128_1rw_pmos_m22.add(gdstk.Reference(sram_32x128_1rw_contact_, (5.47,0.38)))
sram_32x128_1rw_pmos_m22.add(gdstk.Reference(sram_32x128_1rw_contact_, (5.745,0.38)))
sram_32x128_1rw_pmos_m22.add(gdstk.Reference(sram_32x128_1rw_contact_, (5.99,0.38)))
sram_32x128_1rw_pmos_m22.add(gdstk.Label('G', (3.04,-0.08), layer=9, texttype=0))
sram_32x128_1rw_pmos_m22.add(gdstk.Label('S', (2.215,0.4475), layer=11, texttype=0))
sram_32x128_1rw_pmos_m22.add(gdstk.Label('S', (1.665,0.4475), layer=11, texttype=0))
sram_32x128_1rw_pmos_m22.add(gdstk.Label('S', (3.315,0.4475), layer=11, texttype=0))
sram_32x128_1rw_pmos_m22.add(gdstk.Label('S', (4.965,0.4475), layer=11, texttype=0))
sram_32x128_1rw_pmos_m22.add(gdstk.Label('S', (5.515,0.4475), layer=11, texttype=0))
sram_32x128_1rw_pmos_m22.add(gdstk.Label('S', (2.765,0.4475), layer=11, texttype=0))
sram_32x128_1rw_pmos_m22.add(gdstk.Label('S', (6.035,0.4475), layer=11, texttype=0))
sram_32x128_1rw_pmos_m22.add(gdstk.Label('S', (0.045,0.4475), layer=11, texttype=0))
sram_32x128_1rw_pmos_m22.add(gdstk.Label('S', (0.565,0.4475), layer=11, texttype=0))
sram_32x128_1rw_pmos_m22.add(gdstk.Label('S', (3.865,0.4475), layer=11, texttype=0))
sram_32x128_1rw_pmos_m22.add(gdstk.Label('S', (4.415,0.4475), layer=11, texttype=0))
sram_32x128_1rw_pmos_m22.add(gdstk.Label('S', (1.115,0.4475), layer=11, texttype=0))
sram_32x128_1rw_pmos_m22.add(gdstk.Label('D', (3.04,0.2825), layer=11, texttype=0))

sram_32x128_1rw_nmos_m22 = lib.new_cell('SRAM_32x128_1rw_nmos_m22_w0_297_sm1_dm1_da_p')
R(sram_32x128_1rw_nmos_m22, active, [(0,0,6.08,0.2975)])
R(sram_32x128_1rw_nmos_m22, pwell, [(-0.08,-0.08,6.16,0.3775)])
R(sram_32x128_1rw_nmos_m22, nimplant, [(0,0,6.08,0.2975)])
R(sram_32x128_1rw_nmos_m22, vtg, [(-0.08,-0.08,6.16,0.3775)])
A(sram_32x128_1rw_nmos_m22, poly, 0.1275, -0.055, 0.05, 0.4075, 22, 1, 0.275, 0)
R(sram_32x128_1rw_nmos_m22, poly, [(0.1275,0.3525,5.9525,0.4025)])
A(sram_32x128_1rw_nmos_m22, metal1, 0.5325, 0.08, 0.065, 0.135, 10, 1, 0.55, 0)
A(sram_32x128_1rw_nmos_m22, metal1, 0.2575, 0.15, 0.065, 0.165, 11, 1, 0.55, 0)
R(sram_32x128_1rw_nmos_m22, metal1, [(0.0125,0.08,0.0775,0.215), (6.0025,0.08,6.0675,0.215), (0.2575,0.28,5.8225,0.345)])
R(sram_32x128_1rw_nmos_m22, boundary2, [(-0.08,-0.08,6.16,0.4025)])
sram_32x128_1rw_nmos_m22.add(gdstk.Reference(c_sram_32x128_1rw_contact_, (0,0.08)))
sram_32x128_1rw_nmos_m22.add(gdstk.Reference(c_sram_32x128_1rw_contact_, (0.245,0.08)))
sram_32x128_1rw_nmos_m22.add(gdstk.Reference(c_sram_32x128_1rw_contact_, (0.52,0.08)))
sram_32x128_1rw_nmos_m22.add(gdstk.Reference(c_sram_32x128_1rw_contact_, (0.795,0.08)))
sram_32x128_1rw_nmos_m22.add(gdstk.Reference(c_sram_32x128_1rw_contact_, (1.07,0.08)))
sram_32x128_1rw_nmos_m22.add(gdstk.Reference(c_sram_32x128_1rw_contact_, (1.345,0.08)))
sram_32x128_1rw_nmos_m22.add(gdstk.Reference(c_sram_32x128_1rw_contact_, (1.62,0.08)))
sram_32x128_1rw_nmos_m22.add(gdstk.Reference(c_sram_32x128_1rw_contact_, (1.895,0.08)))
sram_32x128_1rw_nmos_m22.add(gdstk.Reference(c_sram_32x128_1rw_contact_, (2.17,0.08)))
sram_32x128_1rw_nmos_m22.add(gdstk.Reference(c_sram_32x128_1rw_contact_, (2.445,0.08)))
sram_32x128_1rw_nmos_m22.add(gdstk.Reference(c_sram_32x128_1rw_contact_, (2.72,0.08)))
sram_32x128_1rw_nmos_m22.add(gdstk.Reference(c_sram_32x128_1rw_contact_, (2.995,0.08)))
sram_32x128_1rw_nmos_m22.add(gdstk.Reference(c_sram_32x128_1rw_contact_, (3.27,0.08)))
sram_32x128_1rw_nmos_m22.add(gdstk.Reference(c_sram_32x128_1rw_contact_, (3.545,0.08)))
sram_32x128_1rw_nmos_m22.add(gdstk.Reference(c_sram_32x128_1rw_contact_, (3.82,0.08)))
sram_32x128_1rw_nmos_m22.add(gdstk.Reference(c_sram_32x128_1rw_contact_, (4.095,0.08)))
sram_32x128_1rw_nmos_m22.add(gdstk.Reference(c_sram_32x128_1rw_contact_, (4.37,0.08)))
sram_32x128_1rw_nmos_m22.add(gdstk.Reference(c_sram_32x128_1rw_contact_, (4.645,0.08)))
sram_32x128_1rw_nmos_m22.add(gdstk.Reference(c_sram_32x128_1rw_contact_, (4.92,0.08)))
sram_32x128_1rw_nmos_m22.add(gdstk.Reference(c_sram_32x128_1rw_contact_, (5.195,0.08)))
sram_32x128_1rw_nmos_m22.add(gdstk.Reference(c_sram_32x128_1rw_contact_, (5.47,0.08)))
sram_32x128_1rw_nmos_m22.add(gdstk.Reference(c_sram_32x128_1rw_contact_, (5.745,0.08)))
sram_32x128_1rw_nmos_m22.add(gdstk.Reference(c_sram_32x128_1rw_contact_, (5.99,0.08)))
sram_32x128_1rw_nmos_m22.add(gdstk.Label('G', (3.04,0.3775), layer=9, texttype=0))
sram_32x128_1rw_nmos_m22.add(gdstk.Label('S', (2.215,0.1475), layer=11, texttype=0))
sram_32x128_1rw_nmos_m22.add(gdstk.Label('S', (5.515,0.1475), layer=11, texttype=0))
sram_32x128_1rw_nmos_m22.add(gdstk.Label('S', (3.315,0.1475), layer=11, texttype=0))
sram_32x128_1rw_nmos_m22.add(gdstk.Label('S', (4.965,0.1475), layer=11, texttype=0))
sram_32x128_1rw_nmos_m22.add(gdstk.Label('S', (0.045,0.1475), layer=11, texttype=0))
sram_32x128_1rw_nmos_m22.add(gdstk.Label('S', (3.865,0.1475), layer=11, texttype=0))
sram_32x128_1rw_nmos_m22.add(gdstk.Label('S', (2.765,0.1475), layer=11, texttype=0))
sram_32x128_1rw_nmos_m22.add(gdstk.Label('S', (1.115,0.1475), layer=11, texttype=0))
sram_32x128_1rw_nmos_m22.add(gdstk.Label('S', (0.565,0.1475), layer=11, texttype=0))
sram_32x128_1rw_nmos_m22.add(gdstk.Label('S', (1.665,0.1475), layer=11, texttype=0))
sram_32x128_1rw_nmos_m22.add(gdstk.Label('S', (4.415,0.1475), layer=11, texttype=0))
sram_32x128_1rw_nmos_m22.add(gdstk.Label('S', (6.035,0.1475), layer=11, texttype=0))
sram_32x128_1rw_nmos_m22.add(gdstk.Label('D', (3.04,0.3125), layer=11, texttype=0))

sram_32x128_1rw_pinv_11 = lib.new_cell('SRAM_32x128_1rw_pinv_11')
R(sram_32x128_1rw_pinv_11, pwell, [(-0.055,-0.0325,6.5175,1.185)])
R(sram_32x128_1rw_pinv_11, nwell, [(-0.055,1.185,6.5175,2.505)])
R(sram_32x128_1rw_pinv_11, vtg, [(-0.055,-0.0325,6.5175,1.185), (-0.055,1.185,6.5175,2.505)])
R(sram_32x128_1rw_pinv_11, poly, [(0.2075,0.5275,0.2575,1.345), (0.14,1.0475,0.2075,1.1225)])
A(sram_32x128_1rw_pinv_11, metal1, 0.6125, -0.0325, 0.065, 0.2375, 10, 1, 0.55, 0)
A(sram_32x128_1rw_pinv_11, metal1, 0.6125, 1.83, 0.065, 0.6725, 10, 1, 0.55, 0)
R(sram_32x128_1rw_pinv_11, metal1, [(0,-0.0325,6.4625,0.0325), (0.0925,-0.0325,0.1575,0.205), (6.0825,-0.0325,6.1475,0.205), (6.2525,0,6.3175,0.17), (3.0875,0.405,3.1525,1.765), (0.0725,1.0525,0.2075,1.1175), (3.12,1.0525,3.185,1.1175), (0.0925,1.83,0.1575,2.5025), (6.0825,1.83,6.1475,2.5025), (6.2525,2.3,6.3175,2.47), (0,2.4375,6.4625,2.5025)])
R(sram_32x128_1rw_pinv_11, boundary2, [(0,0,6.4625,2.47), (0,0,6.4625,2.47)])
sram_32x128_1rw_pinv_11.add(gdstk.Reference(sram_32x128_1rw_pmos_m22, (0.08,1.45)))
sram_32x128_1rw_pinv_11.add(gdstk.Reference(sram_32x128_1rw_nmos_m22, (0.08,0.125)))
sram_32x128_1rw_pinv_11.add(gdstk.Reference(c_sram_32x128_1rw_contact__, (6.24,2.2325)))
sram_32x128_1rw_pinv_11.add(gdstk.Reference(c_sram_32x128_1rw_contact___, (6.24,0.1025)))
sram_32x128_1rw_pinv_11.add(gdstk.Reference(c_sram_32x128_1rw_contact____, (0.0725,1.0475)))
sram_32x128_1rw_pinv_11.add(gdstk.Label('A', (0.14,1.085), layer=11, texttype=0))
sram_32x128_1rw_pinv_11.add(gdstk.Label('Z', (3.1525,1.085), layer=11, texttype=0))
sram_32x128_1rw_pinv_11.add(gdstk.Label('gnd', (3.231,0), layer=11, texttype=0))
sram_32x128_1rw_pinv_11.add(gdstk.Label('vdd', (3.231,2.47), layer=11, texttype=0))

sram_32x128_1rw_pdriver_ = lib.new_cell('SRAM_32x128_1rw_pdriver_1')
R(sram_32x128_1rw_pdriver_, pwell, [(-0.055,-0.0325,12.43,1.185)])
R(sram_32x128_1rw_pdriver_, nwell, [(-0.055,1.185,12.43,2.505)])
R(sram_32x128_1rw_pdriver_, vtg, [(-0.055,-0.0325,12.43,1.185), (-0.055,1.185,12.43,2.505)])
R(sram_32x128_1rw_pdriver_, metal1, [(0,-0.0325,12.375,0.0325), (4.495,1.0525,4.56,1.1175), (4.5275,1.0525,6.0525,1.1175), (9.0325,1.0525,9.0975,1.1175), (1.0275,1.0675,1.0925,1.1325), (1.06,1.0675,1.515,1.1325), (2.6925,1.0675,2.7575,1.1325), (2.725,1.0675,3.44,1.1325), (1.715,1.0825,1.78,1.1475), (1.7475,1.0825,2.2025,1.1475), (4.495,1.085,4.56,1.1), (1.0275,1.1,1.0925,1.19), (1.715,1.1,1.78,1.115), (2.6925,1.1,2.7575,1.115), (0.0725,1.1575,0.2075,1.2225), (0.3725,1.1575,0.8275,1.2225), (0,2.4375,12.375,2.5025)])
R(sram_32x128_1rw_pdriver_, boundary2, [(0,0,12.375,2.47), (0,0,12.375,2.47)])
sram_32x128_1rw_pdriver_.add(gdstk.Reference(sram_32x128_1rw_pinv_1, (0,0)))
sram_32x128_1rw_pdriver_.add(gdstk.Reference(sram_32x128_1rw_pinv_1, (0.6875,0)))
sram_32x128_1rw_pdriver_.add(gdstk.Reference(sram_32x128_1rw_pinv_8, (1.375,0)))
sram_32x128_1rw_pdriver_.add(gdstk.Reference(sram_32x128_1rw_pinv_9, (2.0625,0)))
sram_32x128_1rw_pdriver_.add(gdstk.Reference(sram_32x128_1rw_pinv_10, (3.3,0)))
sram_32x128_1rw_pdriver_.add(gdstk.Reference(sram_32x128_1rw_pinv_11, (5.9125,0)))
sram_32x128_1rw_pdriver_.add(gdstk.Label('Z', (9.065,1.085), layer=11, texttype=0))
sram_32x128_1rw_pdriver_.add(gdstk.Label('A', (0.14,1.19), layer=11, texttype=0))
sram_32x128_1rw_pdriver_.add(gdstk.Label('gnd', (6.1875,0), layer=11, texttype=0))
sram_32x128_1rw_pdriver_.add(gdstk.Label('vdd', (6.1875,2.47), layer=11, texttype=0))

lib.write_gds('SRAM_32x128_1rw_pdriver_1.gds')
